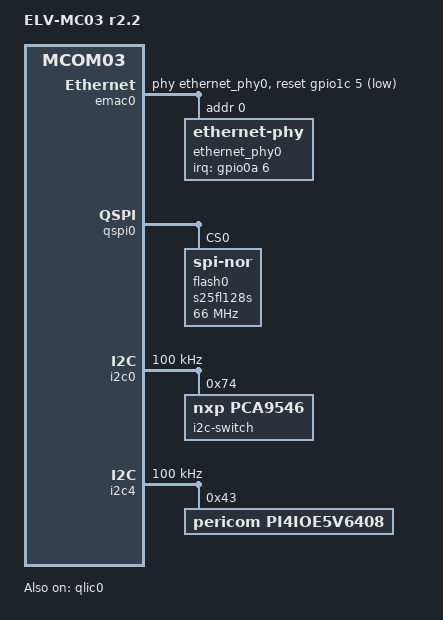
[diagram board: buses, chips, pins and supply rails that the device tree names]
// SPDX-License-Identifier: GPL-2.0+
/*
 * Copyright 2022 RnD Center "ELVEES", JSC
 */

/dts-v1/;

#include <dt-bindings/gpio/gpio.h>
#include <dt-bindings/thermal/thermal.h>

#include "mcom03.dtsi"
#include "mcom03-i2c4.dtsi"

/ {
	model = "ELV-MC03 r2.2";
	compatible = "elvees,elvmc03-r2.2",
		     "elvees,elvmc03",
		     "elvees,mcom03";

	chosen {
		stdout-path = "serial0:115200n8";
	};

	thermal-zones {
		cpu_thermal: cpu0-thermal {
			thermal-sensors = <&pvt 0>;
			polling-delay-passive = <250>;
			polling-delay = <1000>;

			trips {
				cpu_alert0: cpu-alert-0 {
					temperature = <50000>;
					hysteresis = <1000>;
					type = "active";
				};
			};
		};
	};
};

&emac0 {
	phy-handle = <&ethernet_phy0>;
	reset-gpios = <&gpio1c 5 GPIO_ACTIVE_LOW>;
	reset-post-delay-us = <100>;

	ethernet_phy0: ethernet-phy@0 {
		reg = <0x0>;
		/* This is max GTX_CLK skew (0b11111 * 60ps/step)
		 * for KSZ9031 Ethernet PHY
		 */
		txc-skew-ps = <1860>;
		interrupt-parent = <&gpio0a>;
		interrupts = <6 IRQ_TYPE_LEVEL_LOW>;
	};
};

&qspi0 {
	status = "okay";

	flash0: s25fl128s@0 {
		#address-cells = <1>;
		#size-cells = <1>;
		compatible = "jedec,spi-nor", "spi-flash";
		reg = <0x0>;
		/* This is the highest frequency at which all commands are
		 * supported by the flash device.
		 */
		spi-max-frequency = <66000000>;
		m25p,fast-read;
	};
};

&i2c0 {
	/* Not all devices are checked to 400kHz support */
	/* MCP79410T doesn't support 400 kHz when used VCC 1.8V */
	clock-frequency = <100000>;
	status = "okay";

	i2c-switch@74 {
		compatible = "nxp,pca9546";
		reg = <0x74>;
		#address-cells = <1>;
		#size-cells = <0>;

		/* i2c01 is used for ELV-MC03-CB */
		i2c01: i2c@0 {
			#address-cells = <1>;
			#size-cells = <0>;
			reg = <0>;
		};

		/* i2c02 doesn't connect to ELV-MC03-CB and is used for
		 * HDMI transmitter on ELV-MC03 */
		i2c02: i2c@1 {
			#address-cells = <1>;
			#size-cells = <0>;
			reg = <1>;

			adv7513: hdmi@39 {
				status = "disabled";
				compatible = "adi,adv7513";
				reg = <0x39>, <0x3f>;
				reg-names = "main", "edid";
				interrupt-parent = <&gpio0a>;
				interrupts = <3 IRQ_TYPE_EDGE_FALLING>;
				clocks = <&adv7513_cec_clk>;
				clock-names = "cec";
				adi,input-depth = <8>;
				adi,input-colorspace = "rgb";
				adi,input-clock = "1x";
				#address-cells = <1>;
				#size-cells = <0>;
			};
		};

		i2c03: i2c@2 {
			#address-cells = <1>;
			#size-cells = <0>;
			reg = <2>;
		};
	};
};

&qlic0 {
	status = "okay";
};

&i2c4 {
	/* Not all devices are checked to 400kHz support */
	clock-frequency = <100000>;
	status = "okay";

	pi4ioe5v6408: gpio-expander@43 {
		reg = <0x43>;
		compatible = "pericom,pi4ioe5v6408";
		gpio-controller;
		#gpio-cells = <2>;
		gpio-line-names = "EXGP0", "EXGP1", "EXGP2", "EXGP3", "I2S_mode",
			"EXGP5" /* EN +3V3_ETH */, "EXGP6" /* EN +3V3_MEMIC */,
			"EXGP7" /* EN +3V3_USB */;
	};
};
